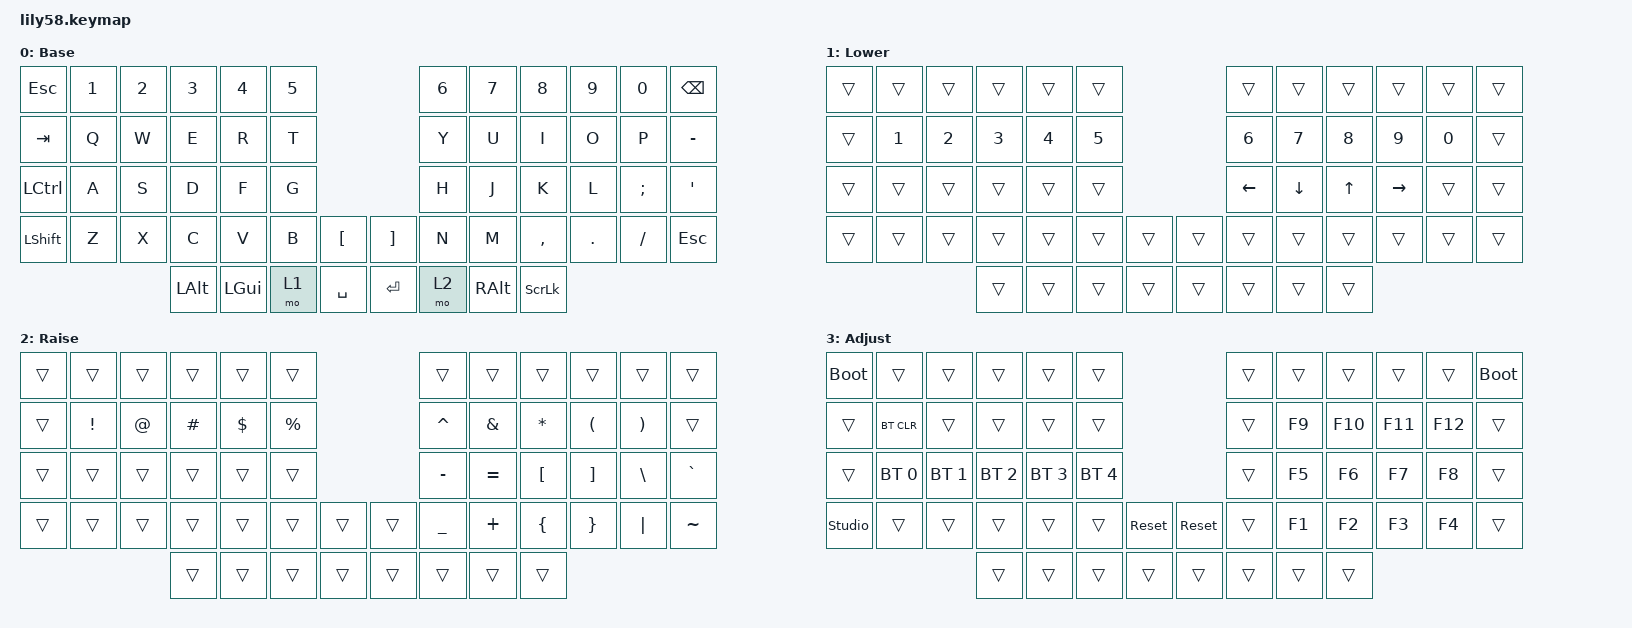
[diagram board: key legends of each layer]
#include <behaviors.dtsi>
#include <dt-bindings/zmk/bt.h>
#include <dt-bindings/zmk/keys.h>

#define BASE 0
#define LOWER 1
#define RAISE 2
#define ADJUST 3


/ {
    keymap {
        compatible = "zmk,keymap";

        Base {
            bindings = <
&kp ESC    &kp N1  &kp N2  &kp N3    &kp N4    &kp N5                         &kp N6  &kp N7    &kp N8          &kp N9   &kp N0    &kp BSPC
&kp TAB    &kp Q   &kp W   &kp E     &kp R     &kp T                          &kp Y   &kp U     &kp I           &kp O    &kp P     &kp MINUS
&kp LCTRL  &kp A   &kp S   &kp D     &kp F     &kp G                          &kp H   &kp J     &kp K           &kp L    &kp SEMI  &kp SQT
&kp LSHFT  &kp Z   &kp X   &kp C     &kp V     &kp B   &kp LBKT     &kp RBKT  &kp N   &kp M     &kp COMMA       &kp DOT  &kp FSLH  &kp ESC
                           &kp LALT  &kp LGUI  &mo 1   &kp SPACE    &kp RET   &mo 2   &kp RALT  &kp SCROLLLOCK
            >;
        };

        Lower {
            bindings = <
&trans  &trans  &trans  &trans  &trans  &trans                    &trans    &trans    &trans  &trans     &trans  &trans
&trans  &kp N1  &kp N2  &kp N3  &kp N4  &kp N5                    &kp N6    &kp N7    &kp N8  &kp N9     &kp N0  &trans
&trans  &trans  &trans  &trans  &trans  &trans                    &kp LEFT  &kp DOWN  &kp UP  &kp RIGHT  &trans  &trans
&trans  &trans  &trans  &trans  &trans  &trans  &trans    &trans  &trans    &trans    &trans  &trans     &trans  &trans
                        &trans  &trans  &trans  &trans    &trans  &trans    &trans    &trans
            >;
        };

        Raise {
            bindings = <
&trans  &trans    &trans  &trans    &trans    &trans                       &trans     &trans     &trans     &trans    &trans    &trans
&trans  &kp EXCL  &kp AT  &kp HASH  &kp DLLR  &kp PRCNT                    &kp CARET  &kp AMPS   &kp ASTRK  &kp LPAR  &kp RPAR  &trans
&trans  &trans    &trans  &trans    &trans    &trans                       &kp MINUS  &kp EQUAL  &kp LBKT   &kp RBKT  &kp BSLH  &kp GRAVE
&trans  &trans    &trans  &trans    &trans    &trans     &trans    &trans  &kp UNDER  &kp PLUS   &kp LBRC   &kp RBRC  &kp PIPE  &kp TILDE
                          &trans    &trans    &trans     &trans    &trans  &trans     &trans     &trans
            >;
        };

        Adjust {
            bindings = <
&bootloader     &trans        &trans        &trans        &trans        &trans                                  &trans  &trans  &trans   &trans   &trans   &bootloader
&trans          &bt BT_CLR    &trans        &trans        &trans        &trans                                  &trans  &kp F9  &kp F10  &kp F11  &kp F12  &trans
&trans          &bt BT_SEL 0  &bt BT_SEL 1  &bt BT_SEL 2  &bt BT_SEL 3  &bt BT_SEL 4                            &trans  &kp F5  &kp F6   &kp F7   &kp F8   &trans
&studio_unlock  &trans        &trans        &trans        &trans        &trans        &sys_reset    &sys_reset  &trans  &kp F1  &kp F2   &kp F3   &kp F4   &trans
                                            &trans        &trans        &trans        &trans        &trans      &trans  &trans  &trans
            >;
        };
    };

    conditional_layers {
        compatible = "zmk,conditional-layers";

        adjust {
            if-layers = <LOWER RAISE>;
            then-layer = <ADJUST>;
        };
    };
};

